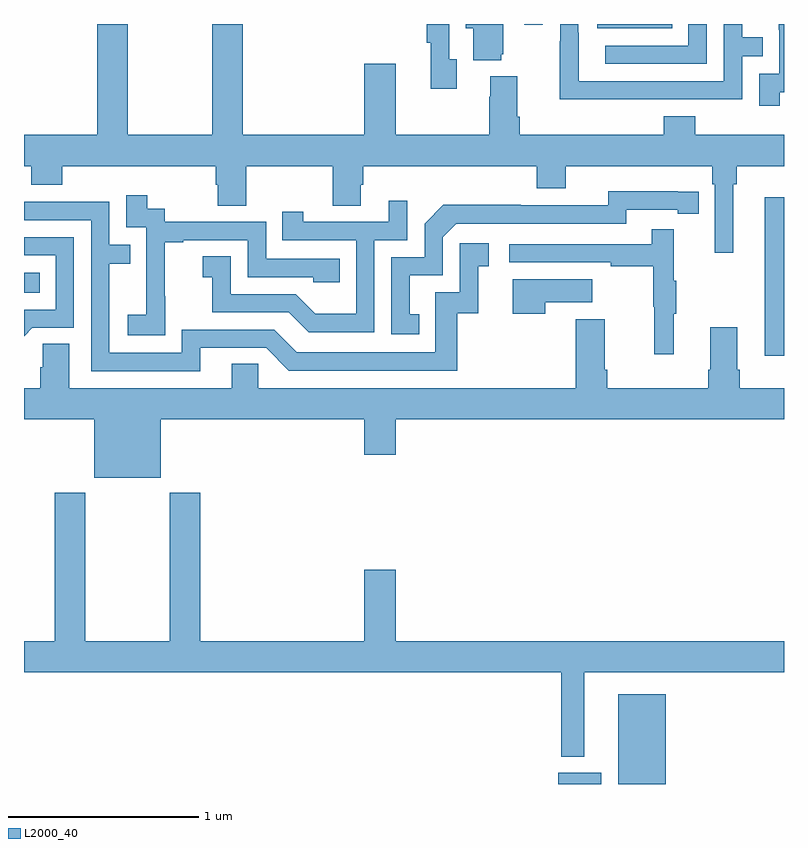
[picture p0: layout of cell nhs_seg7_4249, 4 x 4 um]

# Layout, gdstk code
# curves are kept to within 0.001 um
import gdstk
lib = gdstk.Library(unit=1e-6, precision=1e-09)
def R(c, l, rs):  # rectangles x0, y0, x1, y1
    for r in rs: c.add(gdstk.rectangle(r[:2], r[2:], *l))
def P(c, l, *ps):  # polygons
    for p in ps: c.add(gdstk.Polygon(p, *l))
L2000_40 = (2000, 40)

nhs_seg7_4249 = lib.new_cell('nhs_seg7_4249')
R(nhs_seg7_4249, L2000_40, [(381.812,1028,382.039,1028.059), (382.127,1028,382.378,1028.473), (382.898,1030.254,383,1031.089), (379,1030.586,379.082,1030.69), (382.016,1031.978,382.412,1032), (381.633,1031.997,381.729,1032)])
P(nhs_seg7_4249, L2000_40, [(382.593,1032),(382.497,1032),(382.497,1031.886),(382.059,1031.886),(382.059,1031.79),(382.593,1031.79)],
  [(382.732,1031.156),(382.751,1031.156),(382.751,1031.252),(383,1031.252),(383,1031.416),(382.532,1031.416),(382.532,1031.515),(382.367,1031.515),(382.367,1031.416),(381.608,1031.416),(381.608,1031.512),(381.595,1031.512),(381.595,1031.725),(381.455,1031.725),(381.455,1031.618),(381.448,1031.618),(381.448,1031.416),(380.956,1031.416),(380.956,1031.791),(380.792,1031.791),(380.792,1031.416),(380.15,1031.416),(380.15,1032),(379.99,1032),(379.99,1031.416),(379.545,1031.416),(379.545,1032),(379.385,1032),(379.385,1031.416),(379,1031.416),(379,1031.252),(379.037,1031.252),(379.037,1031.153),(379.202,1031.153),(379.202,1031.252),(380.009,1031.252),(380.009,1031.154),(380.021,1031.154),(380.021,1031.044),(380.169,1031.044),(380.169,1031.252),(380.626,1031.252),(380.626,1031.044),(380.773,1031.044),(380.773,1031.154),(380.786,1031.154),(380.786,1031.252),(381.698,1031.252),(381.698,1031.135),(381.85,1031.135),(381.85,1031.252),(382.622,1031.252),(382.622,1031.156),(382.635,1031.156),(382.635,1030.797),(382.732,1030.797)],
  [(382.283,1031.604),(382.779,1031.604),(382.779,1031.829),(382.889,1031.829),(382.889,1031.93),(382.779,1031.93),(382.779,1032),(382.683,1032),(382.683,1031.7),(381.919,1031.7),(381.919,1031.954),(381.918,1031.954),(381.918,1032),(381.822,1032),(381.822,1031.909),(381.82,1031.909),(381.82,1031.603),(382.283,1031.603)],
  [(381.277,1031.814),(381.237,1031.814),(381.237,1032),(381.121,1032),(381.121,1031.902),(381.14,1031.902),(381.14,1031.658),(381.277,1031.658)],
  [(382.978,1031.641),(383,1031.641),(383,1032),(382.973,1032),(382.973,1031.969),(382.974,1031.969),(382.974,1031.739),(382.869,1031.739),(382.869,1031.571),(382.978,1031.571)],
  [(381.512,1031.841),(381.523,1031.841),(381.523,1032),(381.326,1032),(381.326,1031.978),(381.365,1031.978),(381.365,1031.81),(381.512,1031.81)],
  [(381.08,1030.473),(381.031,1030.473),(381.031,1030.677),(381.204,1030.677),(381.204,1030.878),(381.276,1030.95),(382.17,1030.95),(382.17,1031.022),(382.442,1031.022),(382.442,1031.002),(382.55,1031.002),(382.55,1031.118),(382.074,1031.119),(382.074,1031.046),(381.614,1031.046),(381.614,1031.048),(381.206,1031.048),(381.108,1030.95),(381.108,1030.773),(380.934,1030.773),(380.934,1030.368),(381.08,1030.368)],
  [(379.743,1030.567),(379.742,1030.567),(379.742,1030.851),(379.837,1030.851),(379.837,1030.863),(380.178,1030.863),(380.178,1030.668),(380.523,1030.668),(380.523,1030.641),(380.663,1030.641),(380.663,1030.764),(380.274,1030.764),(380.274,1030.959),(379.74,1030.959),(379.74,1031.028),(379.648,1031.028),(379.648,1031.098),(379.539,1031.098),(379.539,1030.929),(379.644,1030.929),(379.644,1030.7),(379.643,1030.7),(379.643,1030.471),(379.545,1030.471),(379.545,1030.361),(379.743,1030.361)],
  [(380.844,1030.863),(381.018,1030.863),(381.018,1031.071),(380.921,1031.071),(380.921,1030.959),(380.47,1030.959),(380.47,1031.011),(380.359,1031.011),(380.359,1030.863),(380.748,1030.863),(380.748,1030.474),(380.534,1030.474),(380.43,1030.578),(380.088,1030.578),(380.088,1030.777),(379.941,1030.777),(379.941,1030.667),(379.99,1030.667),(379.99,1030.482),(380.393,1030.482),(380.498,1030.377),(380.844,1030.377)],
  [(379.927,1030.296),(380.274,1030.296),(380.394,1030.176),(381.281,1030.176),(381.281,1030.478),(381.392,1030.478),(381.392,1030.725),(381.445,1030.725),(381.445,1030.846),(381.294,1030.846),(381.294,1030.587),(381.165,1030.587),(381.165,1030.272),(380.436,1030.272),(380.316,1030.392),(379.83,1030.392),(379.83,1030.269),(379.449,1030.269),(379.449,1030.738),(379.559,1030.738),(379.559,1030.839),(379.449,1030.839),(379.449,1031.064),(379,1031.064),(379,1030.968),(379.353,1030.968),(379.353,1030.173),(379.927,1030.173)],
  [(382.421,1030.475),(382.432,1030.475),(382.432,1030.649),(382.421,1030.649),(382.421,1030.921),(382.303,1030.921),(382.303,1030.842),(381.555,1030.842),(381.555,1030.746),(382.087,1030.746),(382.087,1030.726),(382.311,1030.726),(382.311,1030.512),(382.318,1030.512),(382.318,1030.263),(382.421,1030.263)],
  [(379.044,1030.401),(379.263,1030.401),(379.263,1030.878),(379,1030.878),(379,1030.782),(379.167,1030.782),(379.167,1030.497),(379,1030.497),(379,1030.357)],
  [(381.743,1030.535),(381.991,1030.535),(381.991,1030.657),(381.572,1030.657),(381.572,1030.476),(381.743,1030.476)],
  [(381.905,1030.447),(381.905,1030.084),(380.232,1030.084),(380.232,1030.211),(380.093,1030.211),(380.093,1030.084),(379.237,1030.084),(379.237,1030.316),(379.098,1030.316),(379.098,1030.193),(379.085,1030.193),(379.085,1030.084),(379,1030.084),(379,1029.92),(379.37,1029.92),(379.37,1029.611),(379.72,1029.611),(379.72,1029.92),(380.792,1029.92),(380.792,1029.732),(380.956,1029.732),(380.956,1029.92),(383,1029.92),(383,1030.084),(382.766,1030.084),(382.766,1030.18),(382.753,1030.18),(382.753,1030.405),(382.613,1030.405),(382.613,1030.18),(382.601,1030.18),(382.601,1030.084),(382.07,1030.084),(382.07,1030.18),(382.057,1030.18),(382.057,1030.447)],
  [(381.949,1028.588),(383,1028.588),(383,1028.752),(380.956,1028.752),(380.956,1029.127),(380.792,1029.127),(380.792,1028.752),(379.928,1028.752),(379.928,1029.532),(379.768,1029.532),(379.768,1028.752),(379.323,1028.752),(379.323,1029.532),(379.163,1029.532),(379.163,1028.752),(379,1028.752),(379,1028.588),(381.828,1028.588),(381.828,1028.144),(381.949,1028.144)])

lib.write_gds('nhs_seg7_4249.gds')
